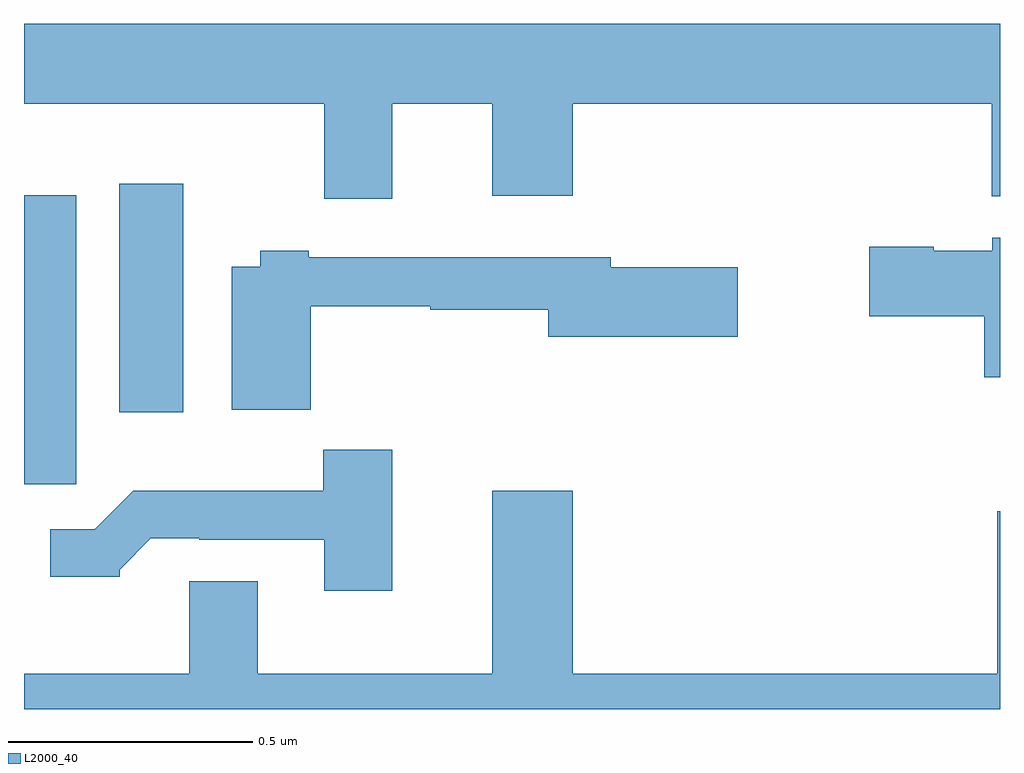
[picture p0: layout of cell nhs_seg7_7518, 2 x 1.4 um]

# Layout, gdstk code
import gdstk
lib = gdstk.Library(unit=1e-6, precision=1e-09)
def R(c, l, rs):  # rectangles x0, y0, x1, y1
    for r in rs: c.add(gdstk.rectangle(r[:2], r[2:], *l))
def P(c, l, *ps):  # polygons
    for p in ps: c.add(gdstk.Polygon(p, *l))
L2000_40 = (2000, 40)

nhs_seg7_7518 = lib.new_cell('nhs_seg7_7518')
R(nhs_seg7_7518, L2000_40, [(212,1042.461,212.107,1043.053), (212.195,1042.608,212.326,1043.077)])
P(nhs_seg7_7518, L2000_40, [(212.755,1043.24),(212.96,1043.24),(212.96,1043.052),(213.124,1043.052),(213.124,1043.24),(213.983,1043.24),(213.983,1043.051),(214,1043.051),(214,1043.404),(212,1043.404),(212,1043.24),(212.615,1043.24),(212.615,1043.046),(212.755,1043.046)],
  [(214,1042.966),(213.984,1042.966),(213.984,1042.939),(213.864,1042.939),(213.864,1042.947),(213.732,1042.947),(213.732,1042.805),(213.968,1042.805),(213.968,1042.68),(214,1042.68)],
  [(212.588,1042.825),(212.832,1042.825),(212.832,1042.818),(213.074,1042.818),(213.074,1042.763),(213.463,1042.763),(213.463,1042.905),(213.202,1042.905),(213.202,1042.926),(212.584,1042.926),(212.584,1042.939),(212.484,1042.939),(212.484,1042.906),(212.426,1042.906),(212.426,1042.613),(212.588,1042.613)],
  [(212.755,1042.531),(212.613,1042.531),(212.613,1042.447),(212.224,1042.447),(212.145,1042.368),(212.054,1042.368),(212.054,1042.271),(212.196,1042.271),(212.196,1042.286),(212.26,1042.35),(212.359,1042.35),(212.359,1042.347),(212.615,1042.347),(212.615,1042.242),(212.755,1042.242)],
  [(214,1042.405),(213.994,1042.405),(213.994,1042.072),(213.124,1042.072),(213.124,1042.447),(212.96,1042.447),(212.96,1042.072),(212.479,1042.072),(212.479,1042.262),(212.339,1042.262),(212.339,1042.072),(212,1042.072),(212,1042),(214,1042)])

lib.write_gds('nhs_seg7_7518.gds')
